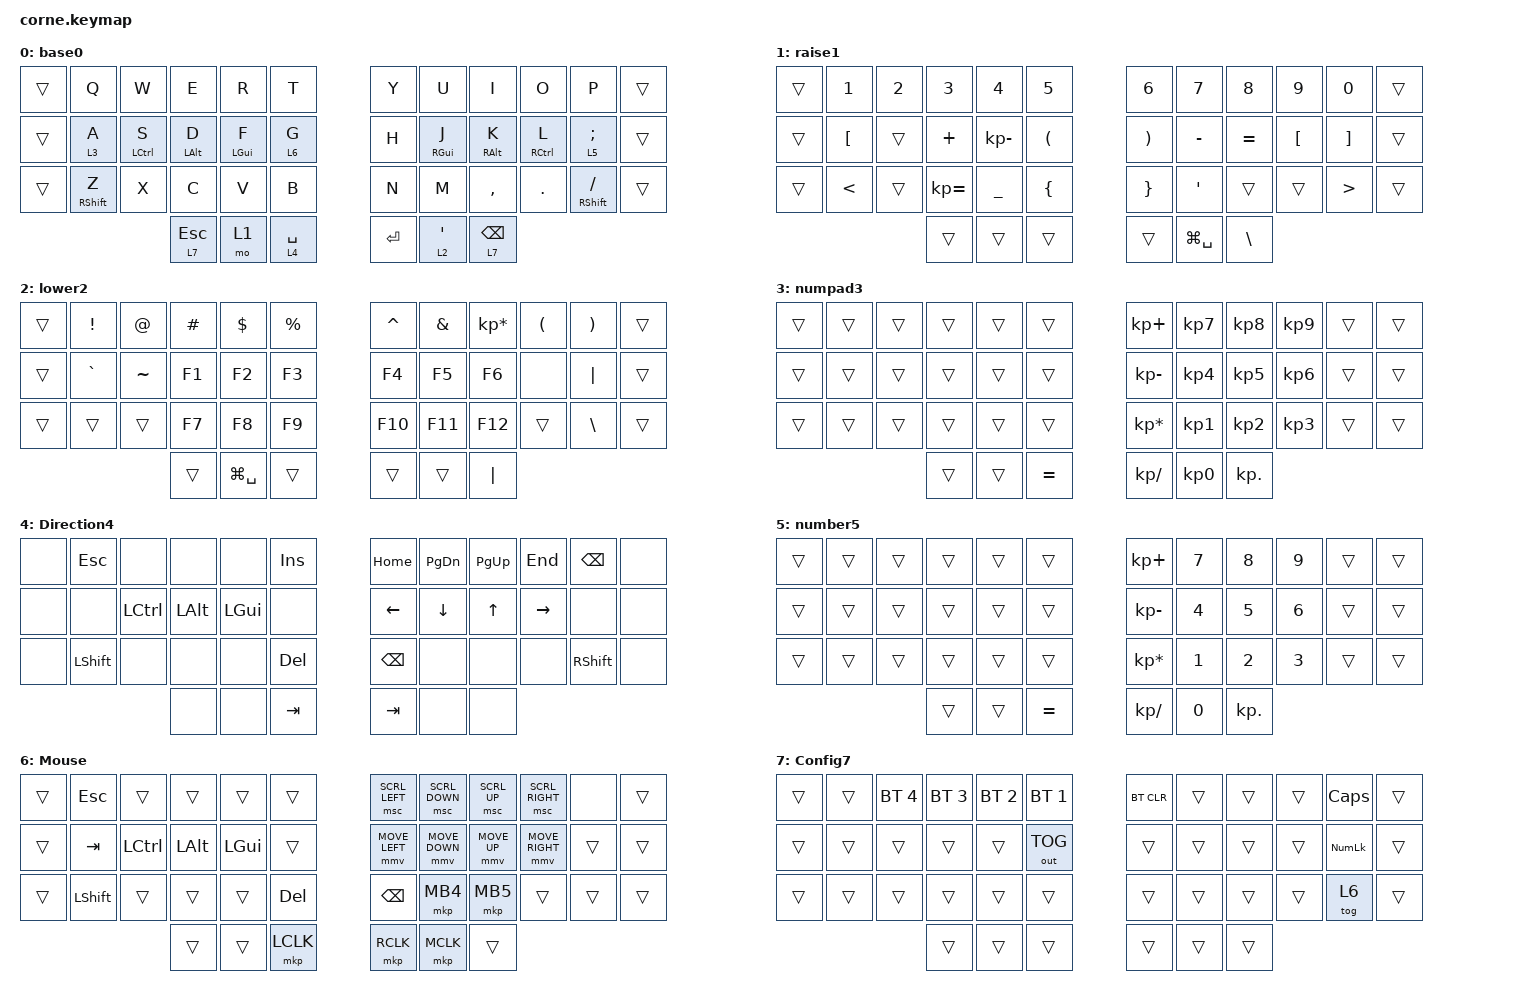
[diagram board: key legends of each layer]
/*
 * Copyright (c) 2020 The ZMK Contributors
 *
 * SPDX-License-Identifier: MIT
 */
/* THIS FILE WAS GENERATED!
 *
 * This file was generated automatically. You may or may not want to
 * edit it directly.
 */

#define ZMK_POINTING_DEFAULT_MOVE_VAL 1200  // default: 600
#define ZMK_POINTING_DEFAULT_SCRL_VAL 15    // default: 10

#include <behaviors.dtsi>
#include <dt-bindings/zmk/bt.h>
#include <dt-bindings/zmk/keys.h>
#include <dt-bindings/zmk/outputs.h>
#include <dt-bindings/zmk/pointing.h>

&mt { flavor = "balanced"; };

&lt { flavor = "balanced"; };

/ {
    combos {
        compatible = "zmk,combos";

        _esc {
            timeout-ms = <100>;
            bindings = <&kp ESC>;
            key-positions = <1 2>;
        };

        backspace {
            timeout-ms = <100>;
            bindings = <&kp BACKSPACE>;
            key-positions = <9 10>;
        };

        _tab {
            timeout-ms = <100>;
            bindings = <&kp TAB>;
            key-positions = <13 14>;
        };

        _gui {
            timeout-ms = <100>;
            bindings = <&sk LGUI>;
            key-positions = <1 37>;
        };

        _ctrl {
            timeout-ms = <100>;
            bindings = <&sk LCTRL>;
            key-positions = <2 37>;
        };

        _alt {
            timeout-ms = <100>;
            bindings = <&sk LALT>;
            key-positions = <3 37>;
        };

        _shift {
            timeout-ms = <100>;
            bindings = <&sk LSHFT>;
            key-positions = <25 37>;
        };

        _swap {
            timeout-ms = <100>;
            bindings = <&kp LG(SPACE)>;
            key-positions = <8 9>;
        };
    };

    macros {
        zed_em_kay: zed_em_kay {
            compatible = "zmk,behavior-macro";
            label = "ZM_zed_em_kay";
            #binding-cells = <0>;
            bindings =
                <&macro_press>,
                <&kp LSHFT>,
                <&macro_tap>,
                <&kp Z &kp M &kp K>,
                <&macro_release>,
                <&kp LSHFT>;
        };
    };

    behaviors {
        mh: homerow_mods {
            compatible = "zmk,behavior-hold-tap";
            label = "HOMEROW_MODS";
            #binding-cells = <2>;
            tapping-term-ms = <200>;
            quick-tap-ms = <0>;
            flavor = "balanced";
            bindings = <&kp>, <&kp>;
        };
    };

    keymap {
        compatible = "zmk,keymap";

        base0 {
            bindings = <
&trans  &kp Q         &kp W        &kp E       &kp R       &kp T          &kp Y      &kp U       &kp I            &kp O        &kp P            &trans
&trans  &lt 3 A       &mh LCTRL S  &mh LALT D  &mh LGUI F  &lt 6 G        &kp H      &mh RGUI J  &mh RALT K       &mh RCTRL L  &lt 5 SEMICOLON  &trans
&trans  &mt RSHIFT Z  &kp X        &kp C       &kp V       &kp B          &kp N      &kp M       &kp COMMA        &kp DOT      &mt RSHIFT FSLH  &trans
                                   &lt 7 ESC   &mo 1       &lt 4 SPACE    &kp ENTER  &lt 2 APOS  &lt 7 BACKSPACE
            >;
        };

        //

        raise1 {
            bindings = <
&trans  &kp N1    &kp N2  &kp N3        &kp N4          &kp N5      &kp N6    &kp N7         &kp N8         &kp N9            &kp N0    &trans
&trans  &kp LBKT  &trans  &kp PLUS      &kp KP_MINUS    &kp LPAR    &kp RPAR  &kp MINUS      &kp EQUAL      &kp LEFT_BRACKET  &kp RBKT  &trans
&trans  &kp LT    &trans  &kp KP_EQUAL  &kp UNDERSCORE  &kp LBRC    &kp RBRC  &kp SQT        &trans         &trans            &kp GT    &trans
                          &trans        &trans          &trans      &trans    &kp LG(SPACE)  &kp BACKSLASH
            >;
        };

        lower2 {
            bindings = <
&trans  &kp EXCL   &kp AT     &kp HASH  &kp DLLR       &kp PRCNT    &kp CARET  &kp AMPS  &kp KP_MULTIPLY  &kp LPAR  &kp RPAR       &trans
&trans  &kp GRAVE  &kp TILDE  &kp F1    &kp F2         &kp F3       &kp F4     &kp F5    &kp F6           &none     &kp PIPE       &trans
&trans  &trans     &trans     &kp F7    &kp F8         &kp F9       &kp F10    &kp F11   &kp F12          &trans    &kp BACKSLASH  &trans
                              &trans    &kp LG(SPACE)  &trans       &trans     &trans    &kp PIPE
            >;
        };

        numpad3 {
            bindings = <
&trans  &trans  &trans  &trans  &trans  &trans       &kp KP_PLUS      &kp KP_N7        &kp KP_N8   &kp KP_N9  &trans  &trans
&trans  &trans  &trans  &trans  &trans  &trans       &kp KP_MINUS     &kp KP_N4        &kp KP_N5   &kp KP_N6  &trans  &trans
&trans  &trans  &trans  &trans  &trans  &trans       &kp KP_MULTIPLY  &kp KP_N1        &kp KP_N2   &kp KP_N3  &trans  &trans
                        &trans  &trans  &kp EQUAL    &kp KP_SLASH     &kp KP_NUMBER_0  &kp KP_DOT
            >;
        };

        Direction4 {
            bindings = <
&none  &kp ESCAPE  &none      &none     &none     &kp INSERT    &kp HOME        &kp PAGE_DOWN   &kp PAGE_UP   &kp END          &kp BACKSPACE    &none
&none  &none       &kp LCTRL  &kp LALT  &kp LGUI  &none         &kp LEFT_ARROW  &kp DOWN_ARROW  &kp UP_ARROW  &kp RIGHT_ARROW  &none            &none
&none  &kp LSHIFT  &none      &none     &none     &kp DEL       &kp BACKSPACE   &none           &none         &none            &kp RIGHT_SHIFT  &none
                              &none     &none     &kp TAB       &kp TAB         &none           &none
            >;
        };

        number5 {
            bindings = <
&trans  &trans  &trans  &trans  &trans  &trans       &kp KP_PLUS      &kp N7  &kp N8      &kp N9  &trans  &trans
&trans  &trans  &trans  &trans  &trans  &trans       &kp KP_MINUS     &kp N4  &kp N5      &kp N6  &trans  &trans
&trans  &trans  &trans  &trans  &trans  &trans       &kp KP_MULTIPLY  &kp N1  &kp N2      &kp N3  &trans  &trans
                        &trans  &trans  &kp EQUAL    &kp KP_SLASH     &kp N0  &kp KP_DOT
            >;
        };

        Mouse {
            bindings = <
&trans  &kp ESC     &trans     &trans    &trans    &trans       &msc SCRL_LEFT  &msc SCRL_DOWN  &msc SCRL_UP  &msc SCRL_RIGHT  &none   &trans
&trans  &kp TAB     &kp LCTRL  &kp LALT  &kp LGUI  &trans       &mmv MOVE_LEFT  &mmv MOVE_DOWN  &mmv MOVE_UP  &mmv MOVE_RIGHT  &trans  &trans
&trans  &kp LSHIFT  &trans     &trans    &trans    &kp DEL      &kp BACKSPACE   &mkp MB4        &mkp MB5      &trans           &trans  &trans
                               &trans    &trans    &mkp LCLK    &mkp RCLK       &mkp MCLK       &trans
            >;
        };

        Config7 {
            bindings = <
&trans  &trans  &bt BT_SEL 4  &bt BT_SEL 3  &bt BT_SEL 2  &bt BT_SEL 1    &bt BT_CLR  &trans  &trans  &trans  &kp CAPS    &trans
&trans  &trans  &trans        &trans        &trans        &out OUT_TOG    &trans      &trans  &trans  &trans  &kp KP_NUM  &trans
&trans  &trans  &trans        &trans        &trans        &trans          &trans      &trans  &trans  &trans  &tog 6      &trans
                              &trans        &trans        &trans          &trans      &trans  &trans
            >;
        };
    };
};
